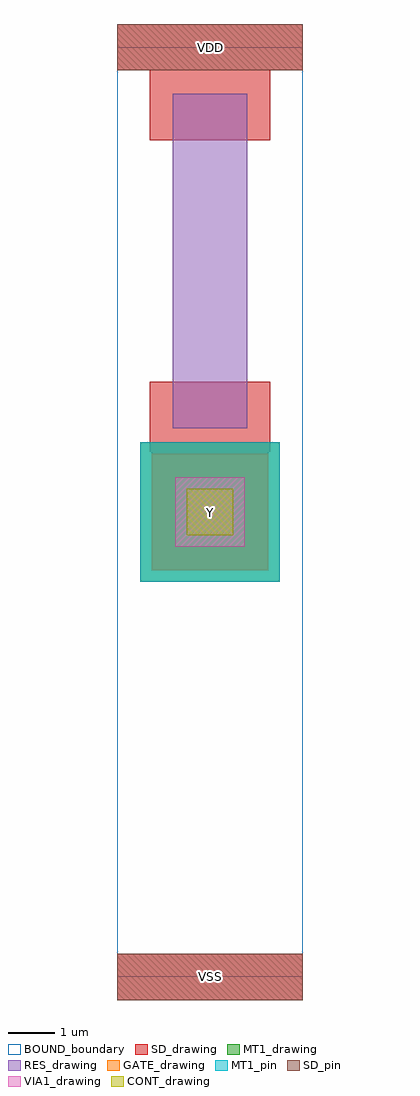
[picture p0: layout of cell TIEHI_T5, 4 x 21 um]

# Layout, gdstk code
import gdstk
lib = gdstk.Library(unit=1e-6, precision=1e-09)
def R(c, l, rs):  # rectangles x0, y0, x1, y1
    for r in rs: c.add(gdstk.rectangle(r[:2], r[2:], *l))
RES_drawing = (1, 0)
SD_drawing = (10, 0)
SD_pin = (10, 3)
GATE_drawing = (11, 0)
MT1_drawing = (20, 0)
MT1_pin = (20, 3)
CONT_drawing = (30, 0)
VIA1_drawing = (41, 0)
BOUND_boundary = (150, 5)

res_cdns_772545148050 = lib.new_cell('res_CDNS_772545148050')
R(res_cdns_772545148050, RES_drawing, [(-0.8,-3.6,0.8,3.6)])
R(res_cdns_772545148050, SD_drawing, [(-1.3,-4.1,1.3,-2.6), (-1.3,2.6,1.3,4.1)])

sd_gate_cdns_77254514805 = lib.new_cell('SD_GATE_CDNS_772545148050')
R(sd_gate_cdns_77254514805, SD_drawing, [(-1,-1,1,1)])
R(sd_gate_cdns_77254514805, GATE_drawing, [(-1,-1,1,1)])
R(sd_gate_cdns_77254514805, CONT_drawing, [(-0.5,-0.5,0.5,0.5)])

gate_mt1_cdns_7725451480 = lib.new_cell('GATE_MT1_CDNS_772545148051')
R(gate_mt1_cdns_7725451480, GATE_drawing, [(-1.25,-1.25,1.25,1.25)])
R(gate_mt1_cdns_7725451480, MT1_drawing, [(-1.25,-1.25,1.25,1.25)])
R(gate_mt1_cdns_7725451480, VIA1_drawing, [(-0.75,-0.75,0.75,0.75)])

tiehi_t5 = lib.new_cell('TIEHI_T5')
R(tiehi_t5, SD_drawing, [(0.75,8.75,3.25,11.8)])
R(tiehi_t5, SD_pin, [(0,-0.5,4,0.5), (0,19.5,4,20.5)])
R(tiehi_t5, MT1_drawing, [(0.5,8.5,3.5,11.5)])
R(tiehi_t5, MT1_pin, [(0.5,8.5,3.5,11.5)])
R(tiehi_t5, BOUND_boundary, [(0,0,4,20)])
tiehi_t5.add(gdstk.FlexPath([(0,20),(4,20)], 1, ends="flush", simple_path=True, layer=10, datatype=0))  # SD_drawing
tiehi_t5.add(gdstk.FlexPath([(0,0),(4,0)], 1, ends="flush", simple_path=True, layer=10, datatype=0))  # SD_drawing
tiehi_t5.add(gdstk.Reference(res_cdns_772545148050, (2,15.4)))
tiehi_t5.add(gdstk.Reference(sd_gate_cdns_77254514805, (2,10)))
tiehi_t5.add(gdstk.Reference(gate_mt1_cdns_7725451480, (2,10)))
tiehi_t5.add(gdstk.Label('VSS', (2,0), layer=10, texttype=3))
tiehi_t5.add(gdstk.Label('VDD', (2,20), layer=10, texttype=3))
tiehi_t5.add(gdstk.Label('Y', (2,10), layer=20, texttype=3))
tiehi_t5.add(gdstk.Label('Y', (2,9.95), layer=20, texttype=3))

lib.write_gds('TIEHI_T5.gds')
